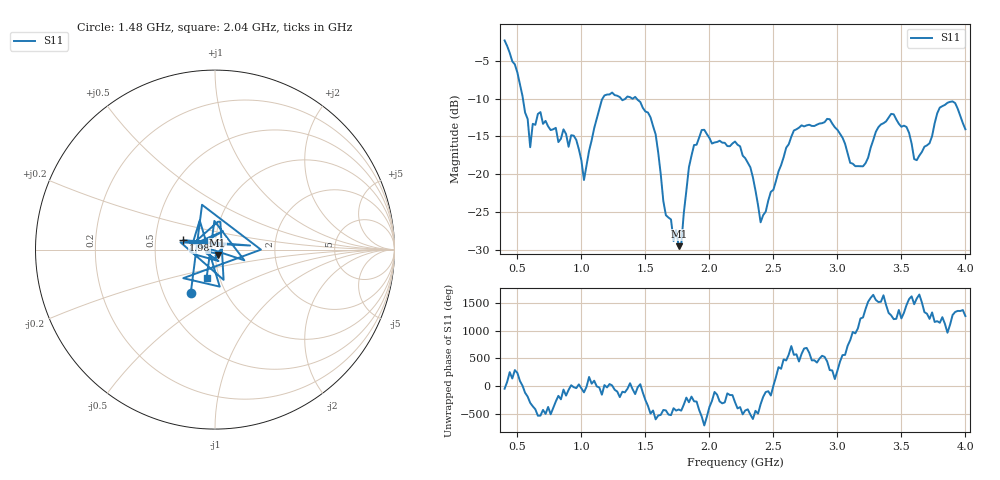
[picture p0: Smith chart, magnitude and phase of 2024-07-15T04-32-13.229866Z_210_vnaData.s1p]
!Created with skrf (http://scikit-rf.org).
# Hz S RI R 50.0
!freq ReS11 ImS11
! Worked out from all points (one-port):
!   181 points, 400 MHz to 4 GHz, reference 50 ohm
!   lowest |S11| = -29.5 dB at 1.76 GHz (marker M1), VSWR 1.07, Z = 51.4 - j3.12 ohm
!   |S11| at or under -10 dB: 542.9 MHz to 1.165 GHz (622.3 MHz wide, 72.9 % of centre); 1.309 GHz to 1.344 GHz (34.64 MHz wide, 2.61 % of centre); 1.431 GHz to end of sweep (the widest 3 of 4)
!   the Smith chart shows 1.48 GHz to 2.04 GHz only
!   S11 on the Smith chart (normalised r, x): 1.48 GHz: 0.69, -0.36; 1.98 GHz: 0.70, +0.08; 2.04 GHz: 0.87, -0.28
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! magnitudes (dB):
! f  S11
! 400 MHz  -2.3
! 500 MHz  -6.6
! 600 MHz  -16.4
! 680 MHz  -11.8
! 860 MHz  -14.1
! 960 MHz  -15.5
! 1.02 GHz  -20.7
! 1.16 GHz  -10.1
! 1.3 GHz  -9.8
! 1.48 GHz  -11.2
! 1.58 GHz  -14.7
! 1.66 GHz  -25.4
! 1.76 GHz  -29.5
! 1.88 GHz  -16.1
! 1.98 GHz  -14.7
! 2.04 GHz  -15.8
! 2.2 GHz  -15.7
! 2.32 GHz  -19.1
! 2.4 GHz  -26.3
! 2.66 GHz  -14.2
! 2.94 GHz  -12.7
! 3.1 GHz  -18.5
! 3.2 GHz  -18.9
! 3.42 GHz  -12.0
! 3.56 GHz  -14.5
! 3.62 GHz  -18.1
! 3.9 GHz  -10.4
! 4 GHz  -14.0
